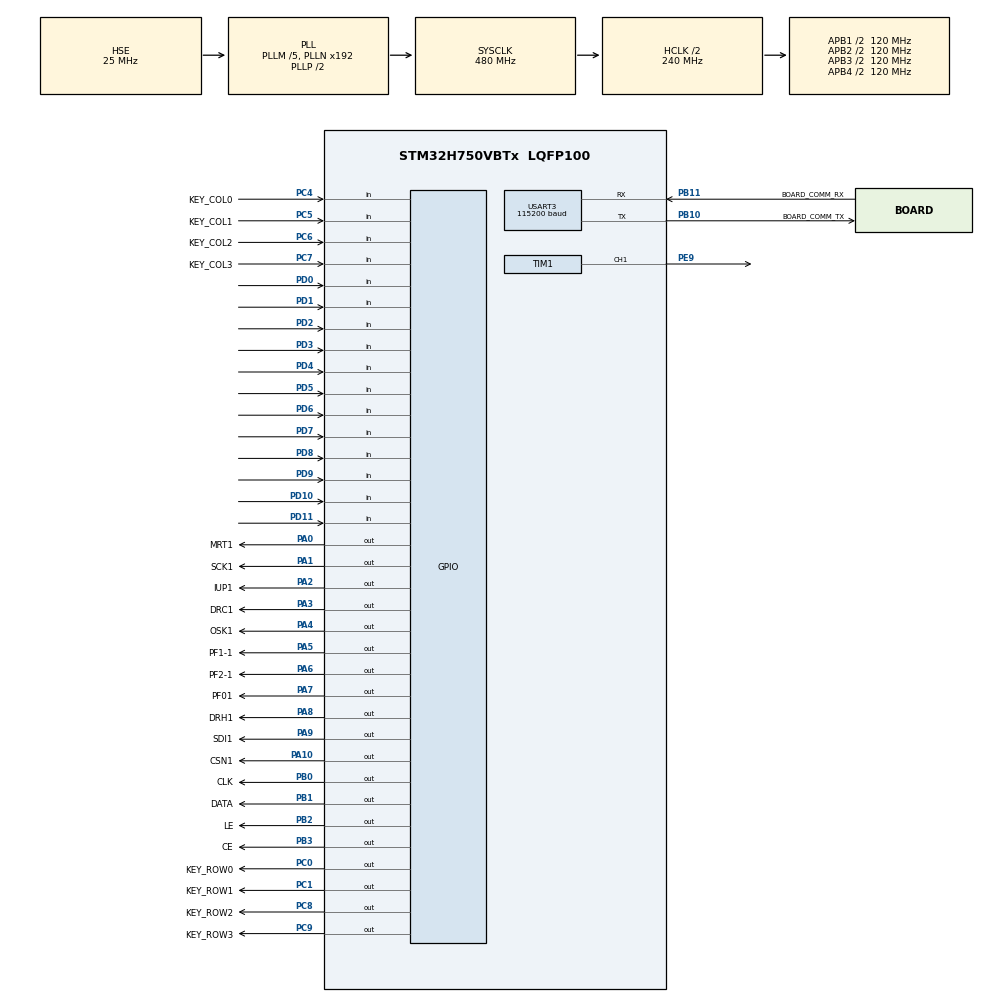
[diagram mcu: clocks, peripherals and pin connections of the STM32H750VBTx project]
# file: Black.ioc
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CORTEX_M7.default_mode_Activation=1
Dma.Request0=TIM1_UP
Dma.TIM1_UP.0.Direction=DMA_PERIPH_TO_MEMORY
Dma.TIM1_UP.0.EventEnable=DISABLE
Dma.TIM1_UP.0.FIFOMode=DMA_FIFOMODE_DISABLE
Dma.TIM1_UP.0.Instance=DMA1_Stream1
Dma.TIM1_UP.0.MemDataAlignment=DMA_MDATAALIGN_HALFWORD
Dma.TIM1_UP.0.MemInc=DMA_MINC_ENABLE
Dma.TIM1_UP.0.Mode=DMA_CIRCULAR
Dma.TIM1_UP.0.PeriphDataAlignment=DMA_PDATAALIGN_HALFWORD
Dma.TIM1_UP.0.PeriphInc=DMA_PINC_DISABLE
Dma.TIM1_UP.0.Polarity=HAL_DMAMUX_REQ_GEN_RISING
Dma.TIM1_UP.0.Priority=DMA_PRIORITY_LOW
Dma.TIM1_UP.0.RequestNumber=1
Dma.TIM1_UP.0.SignalID=NONE
Dma.TIM1_UP.0.SyncEnable=DISABLE
Dma.TIM1_UP.0.SyncPolarity=HAL_DMAMUX_SYNC_NO_EVENT
Dma.TIM1_UP.0.SyncRequestNumber=1
Dma.TIM1_UP.0.SyncSignalID=NONE
Mcu.Family=STM32H7
Mcu.Name=STM32H750VBTx
Mcu.Package=LQFP100
NVIC.DMA1_Stream1_IRQn=true\:0\:0\:false\:false\:true\:false\:true\:true
NVIC.PriorityGroup=NVIC_PRIORITYGROUP_4
NVIC.USART3_IRQn=true\:0\:0\:false\:false\:true\:true\:true\:true
PA0.GPIO_Label=MRT1
PA0.Signal=GPIO_Output
PA1.GPIO_Label=SCK1
PA1.Signal=GPIO_Output
PA10.GPIO_Label=CSN1
PA10.Signal=GPIO_Output
PA2.GPIO_Label=IUP1
PA2.Signal=GPIO_Output
PA3.GPIO_Label=DRC1
PA3.Signal=GPIO_Output
PA4.GPIO_Label=OSK1
PA4.Signal=GPIO_Output
PA5.GPIO_Label=PF1-1
PA5.Signal=GPIO_Output
PA6.GPIO_Label=PF2-1
PA6.Signal=GPIO_Output
PA7.GPIO_Label=PF01
PA7.Signal=GPIO_Output
PA8.GPIO_Label=DRH1
PA8.Signal=GPIO_Output
PA9.GPIO_Label=SDI1
PA9.Signal=GPIO_Output
PB10.GPIO_Label=BOARD_COMM_TX
PB10.Mode=Asynchronous
PB10.Signal=USART3_TX
PB11.GPIO_Label=BOARD_COMM_RX
PB11.Mode=Asynchronous
PB11.Signal=USART3_RX
PB0.GPIO_Label=CLK
PB0.Signal=GPIO_Output
PB1.GPIO_Label=DATA
PB1.Signal=GPIO_Output
PB2.GPIO_Label=LE
PB2.Signal=GPIO_Output
PB3\ (JTDO/TRACESWO).GPIO_Label=CE
PB3\ (JTDO/TRACESWO).Signal=GPIO_Output
PC0.GPIO_Label=KEY_ROW0
PC0.Signal=GPIO_Output
PC1.GPIO_Label=KEY_ROW1
PC1.Signal=GPIO_Output
PC8.GPIO_Label=KEY_ROW2
PC8.Signal=GPIO_Output
PC9.GPIO_Label=KEY_ROW3
PC9.Signal=GPIO_Output
PC4.GPIO_Label=KEY_COL0
PC4.GPIO_PuPd=GPIO_PULLUP
PC4.Signal=GPIO_Input
PC5.GPIO_Label=KEY_COL1
PC5.GPIO_PuPd=GPIO_PULLUP
PC5.Signal=GPIO_Input
PC6.GPIO_Label=KEY_COL2
PC6.GPIO_PuPd=GPIO_PULLUP
PC6.Signal=GPIO_Input
PC7.GPIO_Label=KEY_COL3
PC7.GPIO_PuPd=GPIO_PULLUP
PC7.Signal=GPIO_Input
PD0.Signal=GPIO_Input
PD1.Signal=GPIO_Input
PD10.Signal=GPIO_Input
PD11.Signal=GPIO_Input
PD2.Signal=GPIO_Input
PD3.Signal=GPIO_Input
PD4.Signal=GPIO_Input
PD5.Signal=GPIO_Input
PD6.Signal=GPIO_Input
PD7.Signal=GPIO_Input
PD8.Signal=GPIO_Input
PD9.Signal=GPIO_Input
PE9.Signal=S_TIM1_CH1
PH0-OSC_IN\ (PH0).Mode=HSE-External-Oscillator
PH0-OSC_IN\ (PH0).Signal=RCC_OSC_IN
PH1-OSC_OUT\ (PH1).Mode=HSE-External-Oscillator
PH1-OSC_OUT\ (PH1).Signal=RCC_OSC_OUT
ProjectManager.HeapSize=0x200
ProjectManager.StackSize=0x400
ProjectManager.TargetToolchain=MDK-ARM V5.32
RCC.ADCFreq_Value=50390625
RCC.APB1Freq_Value=120000000
RCC.APB2Freq_Value=120000000
RCC.APB3Freq_Value=120000000
RCC.APB4Freq_Value=120000000
RCC.CortexFreq_Value=480000000
RCC.D1PPRE=RCC_APB3_DIV2
RCC.D2PPRE1=RCC_APB1_DIV2
RCC.D2PPRE2=RCC_APB2_DIV2
RCC.D3PPRE=RCC_APB4_DIV2
RCC.DIVM1=5
RCC.DIVN1=192
RCC.HCLKFreq_Value=240000000
RCC.HPRE=RCC_HCLK_DIV2
RCC.PLLSourceVirtual=RCC_PLLSOURCE_HSE
RCC.SYSCLKFreq_VALUE=480000000
RCC.SYSCLKSource=RCC_SYSCLKSOURCE_PLLCLK
RCC.USBFreq_Value=480000000
SH.S_TIM1_CH1.0=TIM1_CH1,PWM Generation1 CH1
TIM1.Channel-PWM\ Generation1\ CH1=TIM_CHANNEL_1
TIM1.OCFastMode_PWM-PWM\ Generation1\ CH1=TIM_OCFAST_ENABLE
TIM1.OCMode_PWM-PWM\ Generation1\ CH1=TIM_OCMODE_PWM2
TIM1.Period=50-1
TIM1.Pulse-PWM\ Generation1\ CH1=25
TIM1.TIM_MasterOutputTrigger=TIM_TRGO_UPDATE
TIM1.TIM_MasterOutputTrigger2=TIM_TRGO2_UPDATE
USART3.VirtualMode-Asynchronous=VM_ASYNC
USART3.BaudRate=115200
USART3.WordLength=UART_WORDLENGTH_8B
USART3.StopBits=UART_STOPBITS_1
USART3.Parity=UART_PARITY_NONE
USART3.Mode=UART_MODE_TX_RX
USART3.OverSampling=UART_OVERSAMPLING_16
USART3.OneBitSampling=UART_ONE_BIT_SAMPLE_DISABLE
USART3.ClockPrescaler=UART_PRESCALER_DIV1
VP_MEMORYMAP_VS_MEMORYMAP.Mode=CurAppReg
board=custom

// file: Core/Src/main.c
/* USER CODE BEGIN Header */
/**
  ******************************************************************************
  * @file           : main.c
  * @brief          : Main program body
  ******************************************************************************
  * @attention
  *
  * Copyright (c) 2026 STMicroelectronics.
  * All rights reserved.
  *
  * This software is licensed under terms that can be found in the LICENSE file
  * in the root directory of this software component.
  * If no LICENSE file comes with this software, it is provided AS-IS.
  *
  ******************************************************************************
  */
/* USER CODE END Header */
#include "main.h"
#include "dma.h"
#include "tim.h"
#include "usart.h"
#include "gpio.h"

/* USER CODE BEGIN Includes */
#include "AD9910_User.h"
#include "ADF4351_User.h"
#include "BoardComm_User.h"
#include "Keypad_User.h"
#include "SpectrumSystem_User.h"
/* USER CODE END Includes */

/* USER CODE BEGIN PV */
extern uint8_t dds_mode;
// DDS校准因子，不校准时为1
extern float dds_factor;

double Hz=900;
volatile char BoardComm_Debug_LastKey = 0;
volatile uint32_t BoardComm_Debug_KeySendCount = 0;
volatile BoardComm_Status BoardComm_Debug_LastKeySendStatus = BOARD_COMM_OK;

/* USER CODE END PV */

void SystemClock_Config(void);
static void MPU_Config(void);

int main(void)
{

  /* MPU Configuration--------------------------------------------------------*/
  MPU_Config();

  /* MCU Configuration--------------------------------------------------------*/

  /* Reset of all peripherals, Initializes the Flash interface and the Systick. */
  HAL_Init();

  /* Configure the system clock */
  SystemClock_Config();

  /* USER CODE BEGIN SysInit */
  //ADF4351_Init(350);																									// ???ó?????

  /* USER CODE END SysInit */

  /* Initialize all configured peripherals */
  MX_GPIO_Init();
  MX_DMA_Init();
  MX_TIM1_Init();
  MX_USART3_UART_Init();
  /* USER CODE BEGIN 2 */
  //ADF4351_SetFreq(2000);
	Delay_Init();
  BoardComm_Init();
  (void)BoardComm_StartReceiveToIdleIT();
  Keypad_Init();
	AD9910_Init_1();
	AD9910_Singal_Profile_Init_1();
//	double Hz=900;
  dds_output_sine(Hz,1,100);

	ADF4351_Init(900);
	ADF4351_SetFreq(Hz);
  SpectrumSystem_Init();

  /* USER CODE END 2 */

  /* Infinite loop */
  /* USER CODE BEGIN WHILE */
  while (1)
  {
    Keypad_ScanTask();
    SpectrumSystem_Task();
		Keypad_DelayWithScan(10);
	  //ADF4351_SetFreq(Hz+=100);
		//Hz+=100;
    //dds_output_sine(Hz,1,100);
    /* USER CODE END WHILE */

  }
}

void SystemClock_Config(void)
{
  RCC_OscInitTypeDef RCC_OscInitStruct = {0};
  RCC_ClkInitTypeDef RCC_ClkInitStruct = {0};

  /** Supply configuration update enable
  */
  HAL_PWREx_ConfigSupply(PWR_LDO_SUPPLY);

  /** Configure the main internal regulator output voltage
  */
  __HAL_PWR_VOLTAGESCALING_CONFIG(PWR_REGULATOR_VOLTAGE_SCALE0);

  while(!__HAL_PWR_GET_FLAG(PWR_FLAG_VOSRDY)) {}

  /** Initializes the RCC Oscillators according to the specified parameters
  * in the RCC_OscInitTypeDef structure.
  */
  RCC_OscInitStruct.OscillatorType = RCC_OSCILLATORTYPE_HSE;
  RCC_OscInitStruct.HSEState = RCC_HSE_ON;
  RCC_OscInitStruct.PLL.PLLState = RCC_PLL_ON;
  RCC_OscInitStruct.PLL.PLLSource = RCC_PLLSOURCE_HSE;
  RCC_OscInitStruct.PLL.PLLM = 5;
  RCC_OscInitStruct.PLL.PLLN = 192;
  RCC_OscInitStruct.PLL.PLLP = 2;
  RCC_OscInitStruct.PLL.PLLQ = 2;
  RCC_OscInitStruct.PLL.PLLR = 2;
  RCC_OscInitStruct.PLL.PLLRGE = RCC_PLL1VCIRANGE_2;
  RCC_OscInitStruct.PLL.PLLVCOSEL = RCC_PLL1VCOWIDE;
  RCC_OscInitStruct.PLL.PLLFRACN = 0;
  if (HAL_RCC_OscConfig(&RCC_OscInitStruct) != HAL_OK)
  {
    Error_Handler();
  }

  /** Initializes the CPU, AHB and APB buses clocks
  */
  RCC_ClkInitStruct.ClockType = RCC_CLOCKTYPE_HCLK|RCC_CLOCKTYPE_SYSCLK
                              |RCC_CLOCKTYPE_PCLK1|RCC_CLOCKTYPE_PCLK2
                              |RCC_CLOCKTYPE_D3PCLK1|RCC_CLOCKTYPE_D1PCLK1;
  RCC_ClkInitStruct.SYSCLKSource = RCC_SYSCLKSOURCE_PLLCLK;
  RCC_ClkInitStruct.SYSCLKDivider = RCC_SYSCLK_DIV1;
  RCC_ClkInitStruct.AHBCLKDivider = RCC_HCLK_DIV2;
  RCC_ClkInitStruct.APB3CLKDivider = RCC_APB3_DIV2;
  RCC_ClkInitStruct.APB1CLKDivider = RCC_APB1_DIV2;
  RCC_ClkInitStruct.APB2CLKDivider = RCC_APB2_DIV2;
  RCC_ClkInitStruct.APB4CLKDivider = RCC_APB4_DIV2;

  if (HAL_RCC_ClockConfig(&RCC_ClkInitStruct, FLASH_LATENCY_4) != HAL_OK)
  {
    Error_Handler();
  }
}

/* USER CODE BEGIN 4 */
void Keypad_EventCallback(char key)
{
  uint8_t payload = (uint8_t)key;

  SpectrumSystem_OnKey(key);
  BoardComm_Debug_LastKey = key;
  BoardComm_Debug_LastKeySendStatus = BoardComm_Send(BOARD_COMM_CMD_KEYPAD, &payload, 1U);
  if (BoardComm_Debug_LastKeySendStatus == BOARD_COMM_OK)
  {
    BoardComm_Debug_KeySendCount++;
  }
}
/* USER CODE END 4 */

 /* MPU Configuration */

void MPU_Config(void)
{
  MPU_Region_InitTypeDef MPU_InitStruct = {0};

  /* Disables the MPU */
  HAL_MPU_Disable();

  /** Initializes and configures the Region and the memory to be protected
  */
  MPU_InitStruct.Enable = MPU_REGION_ENABLE;
  MPU_InitStruct.Number = MPU_REGION_NUMBER0;
  MPU_InitStruct.BaseAddress = 0x0;
  MPU_InitStruct.Size = MPU_REGION_SIZE_4GB;
  MPU_InitStruct.SubRegionDisable = 0x87;
  MPU_InitStruct.TypeExtField = MPU_TEX_LEVEL0;
  MPU_InitStruct.AccessPermission = MPU_REGION_NO_ACCESS;
  MPU_InitStruct.DisableExec = MPU_INSTRUCTION_ACCESS_DISABLE;
  MPU_InitStruct.IsShareable = MPU_ACCESS_SHAREABLE;
  MPU_InitStruct.IsCacheable = MPU_ACCESS_NOT_CACHEABLE;
  MPU_InitStruct.IsBufferable = MPU_ACCESS_NOT_BUFFERABLE;

  HAL_MPU_ConfigRegion(&MPU_InitStruct);
  /* Enables the MPU */
  HAL_MPU_Enable(MPU_PRIVILEGED_DEFAULT);

}

void Error_Handler(void)
{
  __disable_irq();
  while (1)
  {
  }
}
